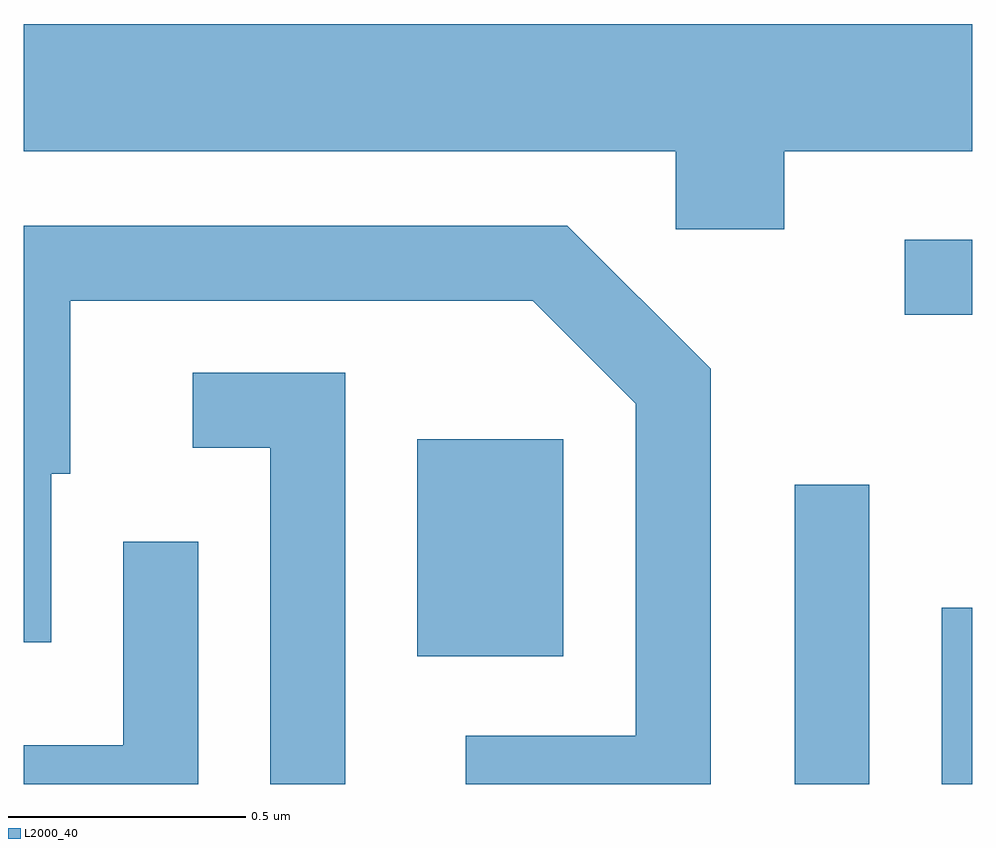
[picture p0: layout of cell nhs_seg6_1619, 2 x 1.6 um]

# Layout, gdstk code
import gdstk
lib = gdstk.Library(unit=1e-6, precision=1e-09)
def R(c, l, rs):  # rectangles x0, y0, x1, y1
    for r in rs: c.add(gdstk.rectangle(r[:2], r[2:], *l))
def P(c, l, *ps):  # polygons
    for p in ps: c.add(gdstk.Polygon(p, *l))
L2000_40 = (2000, 40)

nhs_seg6_1619 = lib.new_cell('nhs_seg6_1619')
R(nhs_seg6_1619, L2000_40, [(198.236,1644.162,198.394,1644.793), (198.546,1644.162,198.611,1644.534), (197.441,1644.431,197.749,1644.889), (198.468,1645.151,198.611,1645.309)])
P(nhs_seg6_1619, L2000_40, [(198.214,1645.496),(198.611,1645.496),(198.611,1645.764),(196.611,1645.764),(196.611,1645.496),(197.986,1645.496),(197.986,1645.331),(198.214,1645.331)],
  [(198.059,1645.037),(197.757,1645.339),(196.611,1645.339),(196.611,1644.461),(196.669,1644.461),(196.669,1644.816),(196.709,1644.816),(196.709,1645.181),(197.684,1645.181),(197.901,1644.964),(197.901,1644.264),(197.543,1644.264),(197.543,1644.162),(198.059,1644.162)],
  [(197.289,1645.029),(196.968,1645.029),(196.968,1644.871),(197.131,1644.871),(197.131,1644.162),(197.289,1644.162)],
  [(196.979,1644.673),(196.821,1644.673),(196.821,1644.244),(196.611,1644.244),(196.611,1644.162),(196.979,1644.162)])

lib.write_gds('nhs_seg6_1619.gds')
